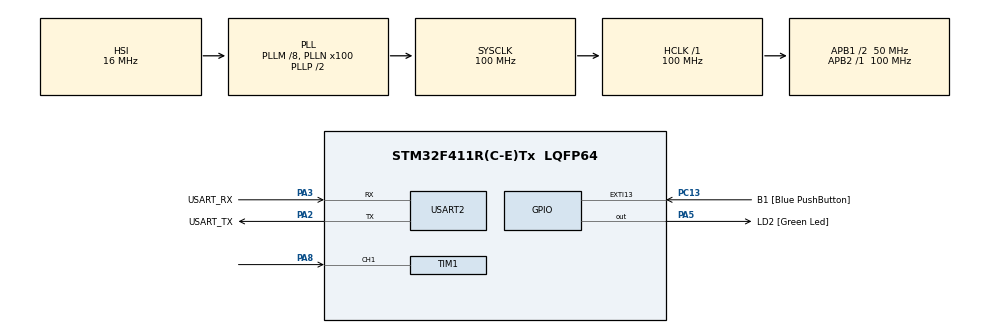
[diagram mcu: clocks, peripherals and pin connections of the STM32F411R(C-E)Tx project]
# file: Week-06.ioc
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Dma.Request0=TIM1_CH1
Dma.TIM1_CH1.0.Direction=DMA_PERIPH_TO_MEMORY
Dma.TIM1_CH1.0.FIFOMode=DMA_FIFOMODE_DISABLE
Dma.TIM1_CH1.0.Instance=DMA2_Stream1
Dma.TIM1_CH1.0.MemDataAlignment=DMA_MDATAALIGN_HALFWORD
Dma.TIM1_CH1.0.MemInc=DMA_MINC_ENABLE
Dma.TIM1_CH1.0.Mode=DMA_CIRCULAR
Dma.TIM1_CH1.0.PeriphDataAlignment=DMA_PDATAALIGN_HALFWORD
Dma.TIM1_CH1.0.PeriphInc=DMA_PINC_DISABLE
Dma.TIM1_CH1.0.Priority=DMA_PRIORITY_LOW
Mcu.Family=STM32F4
Mcu.Name=STM32F411R(C-E)Tx
Mcu.Package=LQFP64
NVIC.DMA2_Stream1_IRQn=true\:0\:0\:false\:false\:true\:false\:true
NVIC.PriorityGroup=NVIC_PRIORITYGROUP_0
NVIC.TIM1_TRG_COM_TIM11_IRQn=true\:0\:0\:false\:false\:true\:true\:true
PA13.GPIO_Label=TMS
PA13.Mode=Serial_Wire
PA13.Signal=SYS_JTMS-SWDIO
PA14.GPIO_Label=TCK
PA14.Mode=Serial_Wire
PA14.Signal=SYS_JTCK-SWCLK
PA2.GPIO_Label=USART_TX
PA2.Mode=Asynchronous
PA2.Signal=USART2_TX
PA3.GPIO_Label=USART_RX
PA3.Mode=Asynchronous
PA3.Signal=USART2_RX
PA5.GPIO_Label=LD2 [Green Led]
PA5.Signal=GPIO_Output
PA8.Signal=S_TIM1_CH1
PB3.GPIO_Label=SWO
PB3.Signal=SYS_JTDO-SWO
PC13-ANTI_TAMP.GPIO_Label=B1 [Blue PushButton]
PC13-ANTI_TAMP.GPIO_ModeDefaultEXTI=GPIO_MODE_IT_FALLING
PC13-ANTI_TAMP.Signal=GPXTI13
PC14-OSC32_IN.Mode=LSE-External-Oscillator
PC14-OSC32_IN.Signal=RCC_OSC32_IN
PC15-OSC32_OUT.Mode=LSE-External-Oscillator
PC15-OSC32_OUT.Signal=RCC_OSC32_OUT
PH0\ -\ OSC_IN.Mode=HSE-External-Clock-Source
PH0\ -\ OSC_IN.Signal=RCC_OSC_IN
PH1\ -\ OSC_OUT.Mode=HSE-External-Clock-Source
PH1\ -\ OSC_OUT.Signal=RCC_OSC_OUT
ProjectManager.HeapSize=0x200
ProjectManager.StackSize=0x400
ProjectManager.TargetToolchain=STM32CubeIDE
RCC.48MHZClocksFreq_Value=50000000
RCC.AHBFreq_Value=100000000
RCC.APB1CLKDivider=RCC_HCLK_DIV2
RCC.APB1Freq_Value=50000000
RCC.APB1TimFreq_Value=100000000
RCC.APB2Freq_Value=100000000
RCC.APB2TimFreq_Value=100000000
RCC.CortexFreq_Value=100000000
RCC.FLatency-AdvancedSettings=FLASH_LATENCY_3
RCC.HCLKFreq_Value=100000000
RCC.HSE_VALUE=8000000
RCC.HSI_VALUE=16000000
RCC.PLLM=8
RCC.PLLN=100
RCC.SYSCLKFreq_VALUE=100000000
RCC.SYSCLKSource=RCC_SYSCLKSOURCE_PLLCLK
RCC.VCOOutputFreq_Value=200000000
SH.S_TIM1_CH1.0=TIM1_CH1,Input_Capture1_from_TI1
TIM1.Channel-Input_Capture1_from_TI1=TIM_CHANNEL_1
TIM1.ICFilter_CH1=2
TIM1.Period=65535
TIM1.Prescaler=99
TIM11.Period=65535
TIM11.Prescaler=99
USART2.VirtualMode=VM_ASYNC
VP_TIM11_VS_ClockSourceINT.Mode=Enable_Timer
VP_TIM1_VS_ClockSourceINT.Mode=Internal
board=NUCLEO-F411RE

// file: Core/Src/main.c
/* USER CODE BEGIN Header */
/**
  ******************************************************************************
  * @file           : main.c
  * @brief          : Main program body
  ******************************************************************************
  * @attention
  *
  * <h2><center>&copy; Copyright (c) 2021 STMicroelectronics.
  * All rights reserved.</center></h2>
  *
  * This software component is licensed by ST under BSD 3-Clause license,
  * the "License"; You may not use this file except in compliance with the
  * License. You may obtain a copy of the License at:
  *                        opensource.org/licenses/BSD-3-Clause
  *
  ******************************************************************************
  */
/* USER CODE END Header */
#include "main.h"

/* USER CODE BEGIN PTD */
#define CAPTURENUM 16

/* USER CODE END PTD */

TIM_HandleTypeDef htim1;
TIM_HandleTypeDef htim11;
DMA_HandleTypeDef hdma_tim1_ch1;

UART_HandleTypeDef huart2;

/* USER CODE BEGIN PV */
uint16_t capturedata[CAPTURENUM] = { 0 };
//diff time of capture data
int32_t DiffTime[CAPTURENUM-1] = { 0 };
//Mean difftime
float MeanTime =0;
uint64_t _micros = 0;
/* USER CODE END PV */

void SystemClock_Config(void);
static void MX_GPIO_Init(void);
static void MX_DMA_Init(void);
static void MX_USART2_UART_Init(void);
static void MX_TIM1_Init(void);
static void MX_TIM11_Init(void);
/* USER CODE BEGIN PFP */
void encoderSpeedReaderCycle();
uint64_t micros();
/* USER CODE END PFP */

int main(void)
{

  /* MCU Configuration--------------------------------------------------------*/

  /* Reset of all peripherals, Initializes the Flash interface and the Systick. */
  HAL_Init();

  /* Configure the system clock */
  SystemClock_Config();

  /* Initialize all configured peripherals */
  MX_GPIO_Init();
  MX_DMA_Init();
  MX_USART2_UART_Init();
  MX_TIM1_Init();
  MX_TIM11_Init();
  /* USER CODE BEGIN 2 *****************************************************/
  HAL_TIM_Base_Start_IT(&htim11);
  HAL_TIM_Base_Start(&htim1);
  HAL_TIM_IC_Start_DMA(&htim1, TIM_CHANNEL_1, (uint32_t*)capturedata,CAPTURENUM);
  uint64_t timestamp =0;
  /* USER CODE END 2 */

  /* Infinite loop */
  /* USER CODE BEGIN WHILE */
  while (1)
  {
	  if(micros()-timestamp > 1000000)
	  		{
	  			timestamp = micros();
	  			HAL_GPIO_TogglePin(LD2_GPIO_Port,LD2_Pin);
	  		}

    /* USER CODE END WHILE */

  }
}

void SystemClock_Config(void)
{
  RCC_OscInitTypeDef RCC_OscInitStruct = {0};
  RCC_ClkInitTypeDef RCC_ClkInitStruct = {0};

  /** Configure the main internal regulator output voltage
  */
  __HAL_RCC_PWR_CLK_ENABLE();
  __HAL_PWR_VOLTAGESCALING_CONFIG(PWR_REGULATOR_VOLTAGE_SCALE1);
  /** Initializes the RCC Oscillators according to the specified parameters
  * in the RCC_OscInitTypeDef structure.
  */
  RCC_OscInitStruct.OscillatorType = RCC_OSCILLATORTYPE_HSI;
  RCC_OscInitStruct.HSIState = RCC_HSI_ON;
  RCC_OscInitStruct.HSICalibrationValue = RCC_HSICALIBRATION_DEFAULT;
  RCC_OscInitStruct.PLL.PLLState = RCC_PLL_ON;
  RCC_OscInitStruct.PLL.PLLSource = RCC_PLLSOURCE_HSI;
  RCC_OscInitStruct.PLL.PLLM = 8;
  RCC_OscInitStruct.PLL.PLLN = 100;
  RCC_OscInitStruct.PLL.PLLP = RCC_PLLP_DIV2;
  RCC_OscInitStruct.PLL.PLLQ = 4;
  if (HAL_RCC_OscConfig(&RCC_OscInitStruct) != HAL_OK)
  {
    Error_Handler();
  }
  /** Initializes the CPU, AHB and APB buses clocks
  */
  RCC_ClkInitStruct.ClockType = RCC_CLOCKTYPE_HCLK|RCC_CLOCKTYPE_SYSCLK
                              |RCC_CLOCKTYPE_PCLK1|RCC_CLOCKTYPE_PCLK2;
  RCC_ClkInitStruct.SYSCLKSource = RCC_SYSCLKSOURCE_PLLCLK;
  RCC_ClkInitStruct.AHBCLKDivider = RCC_SYSCLK_DIV1;
  RCC_ClkInitStruct.APB1CLKDivider = RCC_HCLK_DIV2;
  RCC_ClkInitStruct.APB2CLKDivider = RCC_HCLK_DIV1;

  if (HAL_RCC_ClockConfig(&RCC_ClkInitStruct, FLASH_LATENCY_3) != HAL_OK)
  {
    Error_Handler();
  }
}

static void MX_TIM1_Init(void)
{

  TIM_ClockConfigTypeDef sClockSourceConfig = {0};
  TIM_MasterConfigTypeDef sMasterConfig = {0};
  TIM_IC_InitTypeDef sConfigIC = {0};

  htim1.Instance = TIM1;
  htim1.Init.Prescaler = 99;
  htim1.Init.CounterMode = TIM_COUNTERMODE_UP;
  htim1.Init.Period = 65535;
  htim1.Init.ClockDivision = TIM_CLOCKDIVISION_DIV1;
  htim1.Init.RepetitionCounter = 0;
  htim1.Init.AutoReloadPreload = TIM_AUTORELOAD_PRELOAD_DISABLE;
  if (HAL_TIM_Base_Init(&htim1) != HAL_OK)
  {
    Error_Handler();
  }
  sClockSourceConfig.ClockSource = TIM_CLOCKSOURCE_INTERNAL;
  if (HAL_TIM_ConfigClockSource(&htim1, &sClockSourceConfig) != HAL_OK)
  {
    Error_Handler();
  }
  if (HAL_TIM_IC_Init(&htim1) != HAL_OK)
  {
    Error_Handler();
  }
  sMasterConfig.MasterOutputTrigger = TIM_TRGO_RESET;
  sMasterConfig.MasterSlaveMode = TIM_MASTERSLAVEMODE_DISABLE;
  if (HAL_TIMEx_MasterConfigSynchronization(&htim1, &sMasterConfig) != HAL_OK)
  {
    Error_Handler();
  }
  sConfigIC.ICPolarity = TIM_INPUTCHANNELPOLARITY_RISING;
  sConfigIC.ICSelection = TIM_ICSELECTION_DIRECTTI;
  sConfigIC.ICPrescaler = TIM_ICPSC_DIV1;
  sConfigIC.ICFilter = 2;
  if (HAL_TIM_IC_ConfigChannel(&htim1, &sConfigIC, TIM_CHANNEL_1) != HAL_OK)
  {
    Error_Handler();
  }

}

static void MX_TIM11_Init(void)
{

  htim11.Instance = TIM11;
  htim11.Init.Prescaler = 99;
  htim11.Init.CounterMode = TIM_COUNTERMODE_UP;
  htim11.Init.Period = 65535;
  htim11.Init.ClockDivision = TIM_CLOCKDIVISION_DIV1;
  htim11.Init.AutoReloadPreload = TIM_AUTORELOAD_PRELOAD_DISABLE;
  if (HAL_TIM_Base_Init(&htim11) != HAL_OK)
  {
    Error_Handler();
  }

}

static void MX_USART2_UART_Init(void)
{

  huart2.Instance = USART2;
  huart2.Init.BaudRate = 115200;
  huart2.Init.WordLength = UART_WORDLENGTH_8B;
  huart2.Init.StopBits = UART_STOPBITS_1;
  huart2.Init.Parity = UART_PARITY_NONE;
  huart2.Init.Mode = UART_MODE_TX_RX;
  huart2.Init.HwFlowCtl = UART_HWCONTROL_NONE;
  huart2.Init.OverSampling = UART_OVERSAMPLING_16;
  if (HAL_UART_Init(&huart2) != HAL_OK)
  {
    Error_Handler();
  }

}

static void MX_DMA_Init(void)
{

  /* DMA controller clock enable */
  __HAL_RCC_DMA2_CLK_ENABLE();

  /* DMA interrupt init */
  /* DMA2_Stream1_IRQn interrupt configuration */
  HAL_NVIC_SetPriority(DMA2_Stream1_IRQn, 0, 0);
  HAL_NVIC_EnableIRQ(DMA2_Stream1_IRQn);

}

static void MX_GPIO_Init(void)
{
  GPIO_InitTypeDef GPIO_InitStruct = {0};

  /* GPIO Ports Clock Enable */
  __HAL_RCC_GPIOC_CLK_ENABLE();
  __HAL_RCC_GPIOH_CLK_ENABLE();
  __HAL_RCC_GPIOA_CLK_ENABLE();
  __HAL_RCC_GPIOB_CLK_ENABLE();

  /*Configure GPIO pin Output Level */
  HAL_GPIO_WritePin(LD2_GPIO_Port, LD2_Pin, GPIO_PIN_RESET);

  /*Configure GPIO pin : B1_Pin */
  GPIO_InitStruct.Pin = B1_Pin;
  GPIO_InitStruct.Mode = GPIO_MODE_IT_FALLING;
  GPIO_InitStruct.Pull = GPIO_NOPULL;
  HAL_GPIO_Init(B1_GPIO_Port, &GPIO_InitStruct);

  /*Configure GPIO pin : LD2_Pin */
  GPIO_InitStruct.Pin = LD2_Pin;
  GPIO_InitStruct.Mode = GPIO_MODE_OUTPUT_PP;
  GPIO_InitStruct.Pull = GPIO_NOPULL;
  GPIO_InitStruct.Speed = GPIO_SPEED_FREQ_LOW;
  HAL_GPIO_Init(LD2_GPIO_Port, &GPIO_InitStruct);

}

/* USER CODE BEGIN 4 */
void encoderSpeedReaderCycle() {
	//get DMA Position form number of data
	uint32_t CapPos =CAPTURENUM -  __HAL_DMA_GET_COUNTER(htim1.hdma[TIM_DMA_ID_CC1]);
	uint32_t sum = 0 ;

	//calculate diff from all buffer
	for(register int i=0 ;i < CAPTURENUM-1;i++)
	{
		DiffTime[i]  = capturedata[(CapPos+1+i)%CAPTURENUM]-capturedata[(CapPos+i)%CAPTURENUM];
		//time never go back, but timer can over flow , conpensate that
		if (DiffTime[i] <0)
		{
			DiffTime[i]+=65535;
		}
		//Sum all 15 Diff
		sum += DiffTime[i];
	}

	//mean all 15 Diff
	MeanTime =sum / (float)(CAPTURENUM-1);
}
uint64_t micros()
{
	return _micros + htim11.Instance->CNT;
}
void HAL_TIM_PeriodElapsedCallback(TIM_HandleTypeDef *htim)
{
 if(htim == &htim11)
 {
	 _micros += 65535;
 }
}
/* USER CODE END 4 */

void Error_Handler(void)
{
  __disable_irq();
  while (1)
  {
  }
}

/************************ (C) COPYRIGHT STMicroelectronics *****END OF FILE****/
